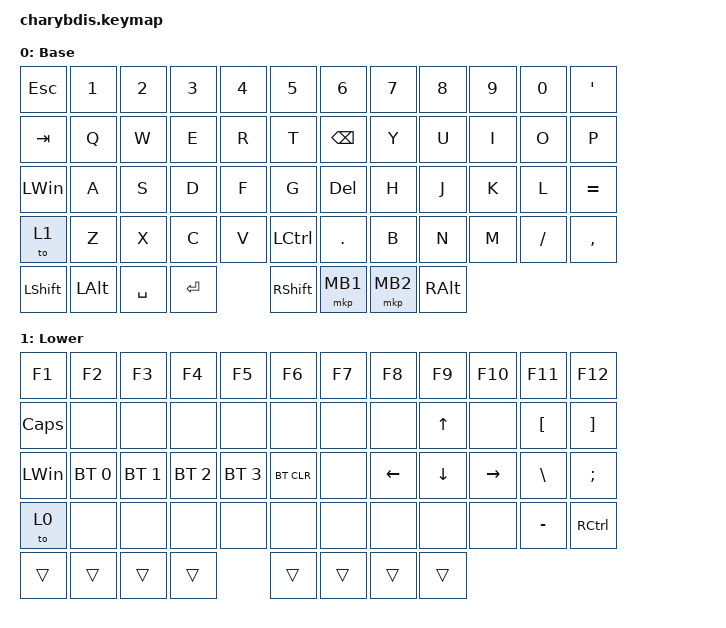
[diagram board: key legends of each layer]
#include <behaviors.dtsi>
#include <dt-bindings/zmk/bt.h>
#include <dt-bindings/zmk/keys.h>
#include <dt-bindings/zmk/pointing.h>

&sk {
    release-after-ms = <600>;
    quick-release;
};

&sl {
    ignore-modifiers;
};

/ {
    keymap {
        compatible = "zmk,keymap";

        Base {
            label = "Base";
            bindings = <
                /* main 48 (12x4) */
                &kp ESC       &kp N1  &kp N2  &kp N3          &kp N4        &kp N5              &kp N6         &kp N7           &kp N8  &kp N9  &kp N0    &kp SQT
                &kp TAB       &kp Q   &kp W   &kp E           &kp R         &kp T               &kp BSPC       &kp Y            &kp U   &kp I   &kp O     &kp P
                &kp LWIN      &kp A   &kp S   &kp D           &kp F         &kp G               &kp DEL        &kp H            &kp J   &kp K   &kp L     &kp EQUAL
                &to 1         &kp Z   &kp X   &kp C           &kp V         &kp LCTRL           &kp DOT        &kp B            &kp N   &kp M   &kp FSLH  &kp COMMA

                /* thumbs 8 (left 5 + right 3) */
                &kp LSHIFT    &kp LALT      &kp SPACE        &kp ENTER     &kp RSHIFT          &mkp MB1       &mkp MB2         &kp RALT
            >;
        };

        Lower {
            label = "Lower";
            bindings = <
                /* main 48 (12x4) */
                &kp F1        &kp F2        &kp F3        &kp F4        &kp F5        &kp F6        &kp F7  &kp F8    &kp F9    &kp F10    &kp F11           &kp F12
                &kp CAPS      &none         &none         &none         &none         &none         &none   &none     &kp UP    &none      &kp LBKT          &kp RBKT
                &kp LWIN      &bt BT_SEL 0  &bt BT_SEL 1  &bt BT_SEL 2  &bt BT_SEL 3  &bt BT_CLR    &none   &kp LEFT  &kp DOWN  &kp RIGHT  &kp BSLH          &kp SEMI
                &to 0         &none         &none         &none         &none         &none         &none   &none     &none     &none      &kp MINUS         &kp RCTRL

                /* thumbs 8 */
                &trans        &trans        &trans        &trans        &trans        &trans        &trans            &trans
            >;
        };
    };
};
